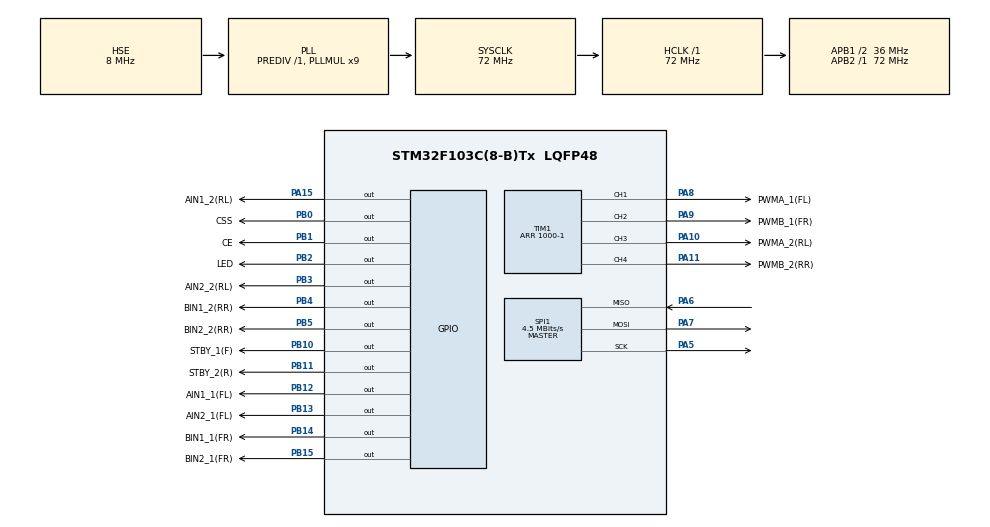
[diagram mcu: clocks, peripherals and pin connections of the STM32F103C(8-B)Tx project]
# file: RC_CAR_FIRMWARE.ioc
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Mcu.Family=STM32F1
Mcu.Name=STM32F103C(8-B)Tx
Mcu.Package=LQFP48
NVIC.PriorityGroup=NVIC_PRIORITYGROUP_4
PA10.GPIO_Label=PWMA_2(RL)
PA10.Signal=S_TIM1_CH3
PA11.GPIO_Label=PWMB_2(RR)
PA11.Signal=S_TIM1_CH4
PA13.Mode=Serial_Wire
PA13.Signal=SYS_JTMS-SWDIO
PA14.Mode=Serial_Wire
PA14.Signal=SYS_JTCK-SWCLK
PA15.GPIO_Label=AIN1_2(RL)
PA15.Signal=GPIO_Output
PA5.Mode=Full_Duplex_Master
PA5.Signal=SPI1_SCK
PA6.Mode=Full_Duplex_Master
PA6.Signal=SPI1_MISO
PA7.Mode=Full_Duplex_Master
PA7.Signal=SPI1_MOSI
PA8.GPIO_Label=PWMA_1(FL)
PA8.Signal=S_TIM1_CH1
PA9.GPIO_Label=PWMB_1(FR)
PA9.Signal=S_TIM1_CH2
PB0.GPIO_Label=CSS
PB0.Signal=GPIO_Output
PB1.GPIO_Label=CE
PB1.Signal=GPIO_Output
PB10.GPIO_Label=STBY_1(F)
PB10.Signal=GPIO_Output
PB11.GPIO_Label=STBY_2(R)
PB11.Signal=GPIO_Output
PB12.GPIO_Label=AIN1_1(FL)
PB12.Signal=GPIO_Output
PB13.GPIO_Label=AIN2_1(FL)
PB13.Signal=GPIO_Output
PB14.GPIO_Label=BIN1_1(FR)
PB14.Signal=GPIO_Output
PB15.GPIO_Label=BIN2_1(FR)
PB15.Signal=GPIO_Output
PB2.GPIO_Label=LED
PB2.Signal=GPIO_Output
PB3.GPIO_Label=AIN2_2(RL)
PB3.Signal=GPIO_Output
PB4.GPIO_Label=BIN1_2(RR)
PB4.Signal=GPIO_Output
PB5.GPIO_Label=BIN2_2(RR)
PB5.Signal=GPIO_Output
PD0-OSC_IN.Mode=HSE-External-Oscillator
PD0-OSC_IN.Signal=RCC_OSC_IN
PD1-OSC_OUT.Mode=HSE-External-Oscillator
PD1-OSC_OUT.Signal=RCC_OSC_OUT
ProjectManager.HeapSize=0x200
ProjectManager.StackSize=0x400
ProjectManager.TargetToolchain=STM32CubeIDE
RCC.ADCPresc=RCC_ADCPCLK2_DIV6
RCC.AHBFreq_Value=72000000
RCC.APB1CLKDivider=RCC_HCLK_DIV2
RCC.APB1Freq_Value=36000000
RCC.APB1TimFreq_Value=72000000
RCC.APB2Freq_Value=72000000
RCC.APB2TimFreq_Value=72000000
RCC.DATA_CACHE_ENABLE=1
RCC.HCLKFreq_Value=72000000
RCC.INSTRUCTION_CACHE_ENABLE=1
RCC.PLLMUL=RCC_PLL_MUL9
RCC.PLLSourceVirtual=RCC_PLLSOURCE_HSE
RCC.PWREXT_OverDrive=PWREXT_OverDrive_DESACTIVATED
RCC.PWR_Regulator_Voltage_Scale=PWR_REGULATOR_VOLTAGE_SCALE3
RCC.RCC_TIM_PRescaler_Selection=RCC_TIMPRES_DESACTIVATED
RCC.SYSCLKFreq_VALUE=72000000
RCC.SYSCLKSource=RCC_SYSCLKSOURCE_PLLCLK
RCC.USBFreq_Value=72000000
SH.S_TIM1_CH1.0=TIM1_CH1,PWM Generation1 CH1
SH.S_TIM1_CH2.0=TIM1_CH2,PWM Generation2 CH2
SH.S_TIM1_CH3.0=TIM1_CH3,PWM Generation3 CH3
SH.S_TIM1_CH4.0=TIM1_CH4,PWM Generation4 CH4
SPI1.BaudRatePrescaler=SPI_BAUDRATEPRESCALER_16
SPI1.CalculateBaudRate=4.5 MBits/s
SPI1.Direction=SPI_DIRECTION_2LINES
SPI1.Mode=SPI_MODE_MASTER
SPI1.VirtualType=VM_MASTER
TIM1.Channel-PWM\ Generation1\ CH1=TIM_CHANNEL_1
TIM1.Channel-PWM\ Generation2\ CH2=TIM_CHANNEL_2
TIM1.Channel-PWM\ Generation3\ CH3=TIM_CHANNEL_3
TIM1.Channel-PWM\ Generation4\ CH4=TIM_CHANNEL_4
TIM1.Period=1000-1
board=custom

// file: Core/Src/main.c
/* USER CODE BEGIN Header */
/**
  ******************************************************************************
  * @file           : main.c
  * @brief          : Main program body
  ******************************************************************************
  * @attention
  *
  * Copyright (c) 2025 STMicroelectronics.
  * All rights reserved.
  *
  * This software is licensed under terms that can be found in the LICENSE file
  * in the root directory of this software component.
  * If no LICENSE file comes with this software, it is provided AS-IS.
  *
  ******************************************************************************
  */
/* USER CODE END Header */
#include "main.h"

/* USER CODE BEGIN Includes */
#include "stdbool.h"
#include "TB6612FNG.h"
#include "NRF24L01.h"
#include "stdlib.h"
/* USER CODE END Includes */

SPI_HandleTypeDef hspi1;

TIM_HandleTypeDef htim1;

/* USER CODE BEGIN PV */
tb6612fng_t motor_driver; // Custom struct for all motor driver pins and PWM channels

uint16_t throttle;
int16_t steering;

bool in1 = true; // CW or forward by default
bool in2 = false;

uint8_t RX_address[] = {0xEE,0xDD,0xCC,0xBB,0xAA};
uint8_t RX_buffer[5];

/* USER CODE END PV */

void SystemClock_Config(void);
static void MX_GPIO_Init(void);
static void MX_SPI1_Init(void);
static void MX_TIM1_Init(void);
/* USER CODE BEGIN PFP */
void tb6612fng_config(tb6612fng_t* tbf);
/* USER CODE END PFP */

int main(void)
{

  /* MCU Configuration--------------------------------------------------------*/

  /* Reset of all peripherals, Initializes the Flash interface and the Systick. */
  HAL_Init();

  /* Configure the system clock */
  SystemClock_Config();

  /* Initialize all configured peripherals */
  MX_GPIO_Init();
  MX_SPI1_Init();
  MX_TIM1_Init();
  /* USER CODE BEGIN 2 */
  tb6612fng_config(&motor_driver); // Assign values to struct attributes
  tb6612fng_init(&motor_driver);

  nrf24_init();
  nrf24_RXmode(RX_address, 5, 10);
  /* USER CODE END 2 */

  /* Infinite loop */
  /* USER CODE BEGIN WHILE */
  while (1)
  {
	  if(isDataAvailable(1)){
		  nrf24_Receive(RX_buffer,5);
		  HAL_GPIO_TogglePin(LED_GPIO_Port, LED_Pin);
	  }

	  // Note: Data in RX_buffer follows the same indexing as TX data buffer.
	  if((bool)RX_buffer[0] == 0){
		  in1 = false;
		  in2 = true;
	  }
	  else{
		  in1 = true;
		  in2 = false;
	  }

	  // Reconstruction of the 16-bit speed values from the two received 8-bit data pairs.
	  throttle = ((uint16_t) RX_buffer[1] << 8) | RX_buffer[2];
	  steering = ((int16_t) RX_buffer[3] << 8) | RX_buffer[4];

	  uint16_t speed_left = throttle + steering;
	  uint16_t speed_right = throttle - steering;

	  // Forward or reverse control
	  tb6612fng_direction(&motor_driver, in1, in2);

	  // Control the speed and steering
	  tb6612fng_speed(motor_driver, speed_left, speed_right);
    /* USER CODE END WHILE */

  }
}

void SystemClock_Config(void)
{
  RCC_OscInitTypeDef RCC_OscInitStruct = {0};
  RCC_ClkInitTypeDef RCC_ClkInitStruct = {0};

  /** Initializes the RCC Oscillators according to the specified parameters
  * in the RCC_OscInitTypeDef structure.
  */
  RCC_OscInitStruct.OscillatorType = RCC_OSCILLATORTYPE_HSE;
  RCC_OscInitStruct.HSEState = RCC_HSE_ON;
  RCC_OscInitStruct.HSEPredivValue = RCC_HSE_PREDIV_DIV1;
  RCC_OscInitStruct.HSIState = RCC_HSI_ON;
  RCC_OscInitStruct.PLL.PLLState = RCC_PLL_ON;
  RCC_OscInitStruct.PLL.PLLSource = RCC_PLLSOURCE_HSE;
  RCC_OscInitStruct.PLL.PLLMUL = RCC_PLL_MUL9;
  if (HAL_RCC_OscConfig(&RCC_OscInitStruct) != HAL_OK)
  {
    Error_Handler();
  }

  /** Initializes the CPU, AHB and APB buses clocks
  */
  RCC_ClkInitStruct.ClockType = RCC_CLOCKTYPE_HCLK|RCC_CLOCKTYPE_SYSCLK
                              |RCC_CLOCKTYPE_PCLK1|RCC_CLOCKTYPE_PCLK2;
  RCC_ClkInitStruct.SYSCLKSource = RCC_SYSCLKSOURCE_PLLCLK;
  RCC_ClkInitStruct.AHBCLKDivider = RCC_SYSCLK_DIV1;
  RCC_ClkInitStruct.APB1CLKDivider = RCC_HCLK_DIV2;
  RCC_ClkInitStruct.APB2CLKDivider = RCC_HCLK_DIV1;

  if (HAL_RCC_ClockConfig(&RCC_ClkInitStruct, FLASH_LATENCY_2) != HAL_OK)
  {
    Error_Handler();
  }
}

static void MX_SPI1_Init(void)
{

  /* SPI1 parameter configuration*/
  hspi1.Instance = SPI1;
  hspi1.Init.Mode = SPI_MODE_MASTER;
  hspi1.Init.Direction = SPI_DIRECTION_2LINES;
  hspi1.Init.DataSize = SPI_DATASIZE_8BIT;
  hspi1.Init.CLKPolarity = SPI_POLARITY_LOW;
  hspi1.Init.CLKPhase = SPI_PHASE_1EDGE;
  hspi1.Init.NSS = SPI_NSS_SOFT;
  hspi1.Init.BaudRatePrescaler = SPI_BAUDRATEPRESCALER_16;
  hspi1.Init.FirstBit = SPI_FIRSTBIT_MSB;
  hspi1.Init.TIMode = SPI_TIMODE_DISABLE;
  hspi1.Init.CRCCalculation = SPI_CRCCALCULATION_DISABLE;
  hspi1.Init.CRCPolynomial = 10;
  if (HAL_SPI_Init(&hspi1) != HAL_OK)
  {
    Error_Handler();
  }

}

static void MX_TIM1_Init(void)
{

  TIM_MasterConfigTypeDef sMasterConfig = {0};
  TIM_OC_InitTypeDef sConfigOC = {0};
  TIM_BreakDeadTimeConfigTypeDef sBreakDeadTimeConfig = {0};

  htim1.Instance = TIM1;
  htim1.Init.Prescaler = 0;
  htim1.Init.CounterMode = TIM_COUNTERMODE_UP;
  htim1.Init.Period = 1000-1;
  htim1.Init.ClockDivision = TIM_CLOCKDIVISION_DIV1;
  htim1.Init.RepetitionCounter = 0;
  htim1.Init.AutoReloadPreload = TIM_AUTORELOAD_PRELOAD_DISABLE;
  if (HAL_TIM_PWM_Init(&htim1) != HAL_OK)
  {
    Error_Handler();
  }
  sMasterConfig.MasterOutputTrigger = TIM_TRGO_RESET;
  sMasterConfig.MasterSlaveMode = TIM_MASTERSLAVEMODE_DISABLE;
  if (HAL_TIMEx_MasterConfigSynchronization(&htim1, &sMasterConfig) != HAL_OK)
  {
    Error_Handler();
  }
  sConfigOC.OCMode = TIM_OCMODE_PWM1;
  sConfigOC.Pulse = 0;
  sConfigOC.OCPolarity = TIM_OCPOLARITY_HIGH;
  sConfigOC.OCNPolarity = TIM_OCNPOLARITY_HIGH;
  sConfigOC.OCFastMode = TIM_OCFAST_DISABLE;
  sConfigOC.OCIdleState = TIM_OCIDLESTATE_RESET;
  sConfigOC.OCNIdleState = TIM_OCNIDLESTATE_RESET;
  if (HAL_TIM_PWM_ConfigChannel(&htim1, &sConfigOC, TIM_CHANNEL_1) != HAL_OK)
  {
    Error_Handler();
  }
  if (HAL_TIM_PWM_ConfigChannel(&htim1, &sConfigOC, TIM_CHANNEL_2) != HAL_OK)
  {
    Error_Handler();
  }
  if (HAL_TIM_PWM_ConfigChannel(&htim1, &sConfigOC, TIM_CHANNEL_3) != HAL_OK)
  {
    Error_Handler();
  }
  if (HAL_TIM_PWM_ConfigChannel(&htim1, &sConfigOC, TIM_CHANNEL_4) != HAL_OK)
  {
    Error_Handler();
  }
  sBreakDeadTimeConfig.OffStateRunMode = TIM_OSSR_DISABLE;
  sBreakDeadTimeConfig.OffStateIDLEMode = TIM_OSSI_DISABLE;
  sBreakDeadTimeConfig.LockLevel = TIM_LOCKLEVEL_OFF;
  sBreakDeadTimeConfig.DeadTime = 0;
  sBreakDeadTimeConfig.BreakState = TIM_BREAK_DISABLE;
  sBreakDeadTimeConfig.BreakPolarity = TIM_BREAKPOLARITY_HIGH;
  sBreakDeadTimeConfig.AutomaticOutput = TIM_AUTOMATICOUTPUT_DISABLE;
  if (HAL_TIMEx_ConfigBreakDeadTime(&htim1, &sBreakDeadTimeConfig) != HAL_OK)
  {
    Error_Handler();
  }
  HAL_TIM_MspPostInit(&htim1);

}

static void MX_GPIO_Init(void)
{
  GPIO_InitTypeDef GPIO_InitStruct = {0};

  /* GPIO Ports Clock Enable */
  __HAL_RCC_GPIOD_CLK_ENABLE();
  __HAL_RCC_GPIOA_CLK_ENABLE();
  __HAL_RCC_GPIOB_CLK_ENABLE();

  /*Configure GPIO pin Output Level */
  HAL_GPIO_WritePin(GPIOB, CSS_Pin|CE_Pin|LED_Pin|STBY_1_Pin
                          |STBY_2_Pin|AIN1_1_Pin|AIN2_1_Pin|BIN1_1_Pin
                          |BIN2_1_Pin|AIN2_2_Pin|BIN1_2_Pin|BIN2_2_Pin, GPIO_PIN_RESET);

  /*Configure GPIO pin Output Level */
  HAL_GPIO_WritePin(AIN1_2_GPIO_Port, AIN1_2_Pin, GPIO_PIN_RESET);

  /*Configure GPIO pins : CSS_Pin CE_Pin LED_Pin STBY_1_Pin
                           STBY_2_Pin AIN1_1_Pin AIN2_1_Pin BIN1_1_Pin
                           BIN2_1_Pin AIN2_2_Pin BIN1_2_Pin BIN2_2_Pin */
  GPIO_InitStruct.Pin = CSS_Pin|CE_Pin|LED_Pin|STBY_1_Pin
                          |STBY_2_Pin|AIN1_1_Pin|AIN2_1_Pin|BIN1_1_Pin
                          |BIN2_1_Pin|AIN2_2_Pin|BIN1_2_Pin|BIN2_2_Pin;
  GPIO_InitStruct.Mode = GPIO_MODE_OUTPUT_PP;
  GPIO_InitStruct.Pull = GPIO_NOPULL;
  GPIO_InitStruct.Speed = GPIO_SPEED_FREQ_LOW;
  HAL_GPIO_Init(GPIOB, &GPIO_InitStruct);

  /*Configure GPIO pin : AIN1_2_Pin */
  GPIO_InitStruct.Pin = AIN1_2_Pin;
  GPIO_InitStruct.Mode = GPIO_MODE_OUTPUT_PP;
  GPIO_InitStruct.Pull = GPIO_NOPULL;
  GPIO_InitStruct.Speed = GPIO_SPEED_FREQ_LOW;
  HAL_GPIO_Init(AIN1_2_GPIO_Port, &GPIO_InitStruct);

}

/* USER CODE BEGIN 4 */
// Instance of the motor driver struct
	void tb6612fng_config(tb6612fng_t* tbf){

		// Number after the underscore represents the front(1)/rear(2) motor driver.
		tbf->stdby_front_port = STBY_1_GPIO_Port;
		tbf->stdby_front_pin = STBY_1_Pin;

		tbf->stdby_rear_port = STBY_2_GPIO_Port;
		tbf->stdby_rear_pin = STBY_2_Pin;

		// Front left
		tbf->AIN1_front_port = AIN1_1_GPIO_Port;
		tbf->AIN1_front_pin = AIN1_1_Pin;

		tbf->AIN2_front_port = AIN2_1_GPIO_Port;
		tbf->AIN2_front_pin = AIN2_1_Pin;

		// Front right
		tbf->BIN1_front_port = BIN1_1_GPIO_Port;
		tbf->BIN1_front_pin = BIN1_1_Pin;

		tbf->BIN2_front_port = BIN2_1_GPIO_Port;
		tbf->BIN2_front_pin = BIN2_1_Pin;

		// Rear left
		tbf->AIN1_rear_port = AIN1_2_GPIO_Port;
		tbf->AIN1_rear_pin = AIN1_2_Pin;

		tbf->AIN2_rear_port = AIN2_2_GPIO_Port;
		tbf->AIN2_rear_pin = AIN2_2_Pin;

		// Rear right
		tbf->BIN1_rear_port = BIN1_2_GPIO_Port;
		tbf->BIN1_rear_pin = BIN1_2_Pin;

		tbf->BIN2_rear_port = BIN2_2_GPIO_Port;
		tbf->BIN2_rear_pin = BIN2_2_Pin;

		tbf->htim = &htim1;

		tbf->front_left = TIM_CHANNEL_1;
		tbf->front_right = TIM_CHANNEL_2;
		tbf->rear_left = TIM_CHANNEL_3;
		tbf->rear_right = TIM_CHANNEL_4;

	}
/* USER CODE END 4 */

void Error_Handler(void)
{
  __disable_irq();
  while (1)
  {
  }
}
